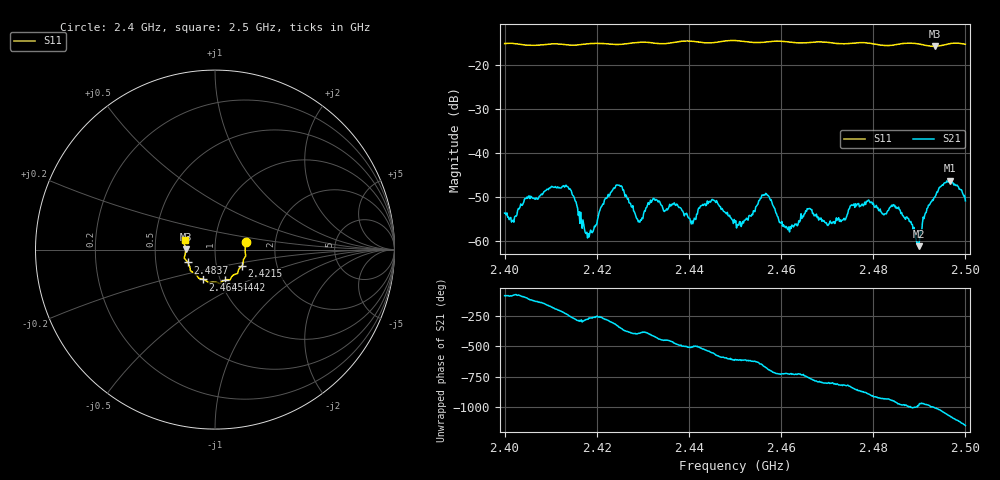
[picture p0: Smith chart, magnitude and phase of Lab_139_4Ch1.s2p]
# Hz S RI R 50
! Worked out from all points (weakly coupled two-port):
!   601 points, 2.4 GHz to 2.5 GHz, reference 50 ohm
!   highest |S21| = -46.24 dB at 2.4967 GHz (marker M1); lowest = -61.1 dB at 2.4898 GHz (marker M2)
!   lowest |S11| = -15.7 dB at 2.4933 GHz (marker M3), VSWR 1.39, Z = 35.9 + j0.101 ohm
!   |S11| at or under -10 dB: start of sweep to end of sweep
!   S12 and S22 are empty: the file has one direction only
!   S11 on the Smith chart (normalised r, x): 2.4 GHz: 1.41, +0.12; 2.4215 GHz: 1.33, -0.25; 2.4442 GHz: 1.05, -0.37; 2.4645 GHz: 0.83, -0.29; 2.4837 GHz: 0.73, -0.11; 2.5 GHz: 0.71, +0.07
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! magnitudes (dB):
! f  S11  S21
! 2.4 GHz  -15.1  -53.6
! 2.4132 GHz  -15.3  -47.4
! 2.4167 GHz  -15.3  -55.7
! 2.4185 GHz  -15.1  -58.1
! 2.4215 GHz  -15.1  -51.6
! 2.425 GHz  -15.3  -47.4
! 2.4292 GHz  -14.8  -55.4
! 2.4333 GHz  -15.1  -51.1
! 2.4408 GHz  -14.6  -56.0
! 2.4442 GHz  -15.0  -51.4
! 2.45 GHz  -14.4  -55.7
! 2.4563 GHz  -14.8  -49.4
! 2.4613 GHz  -14.7  -57.1
! 2.4645 GHz  -15.0  -54.8
! 2.4667 GHz  -14.8  -52.8
! 2.47 GHz  -14.8  -56.3
! 2.4833 GHz  -15.5  -52.9
! 2.4837 GHz  -15.5  -52.2
! 2.4898 GHz  -15.2  -61.1
! 2.4933 GHz  -15.7  -50.0
! 2.4967 GHz  -15.1  -46.2
! 2.5 GHz  -15.2  -50.8
